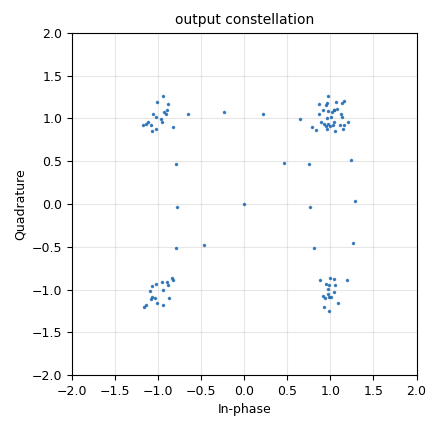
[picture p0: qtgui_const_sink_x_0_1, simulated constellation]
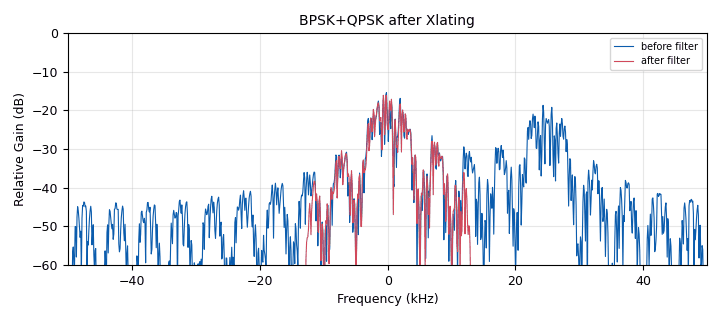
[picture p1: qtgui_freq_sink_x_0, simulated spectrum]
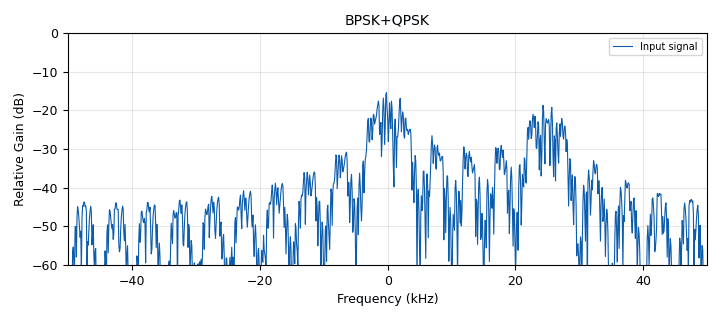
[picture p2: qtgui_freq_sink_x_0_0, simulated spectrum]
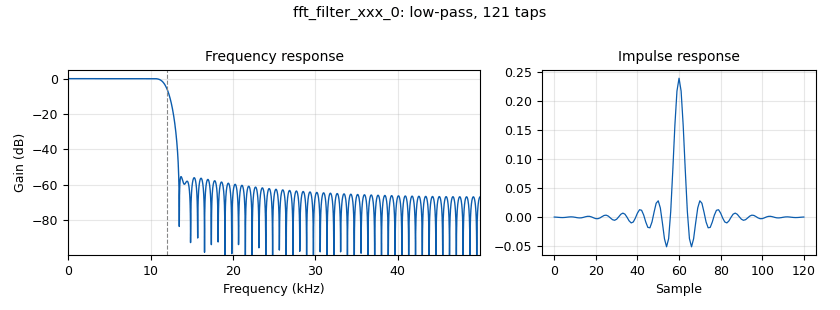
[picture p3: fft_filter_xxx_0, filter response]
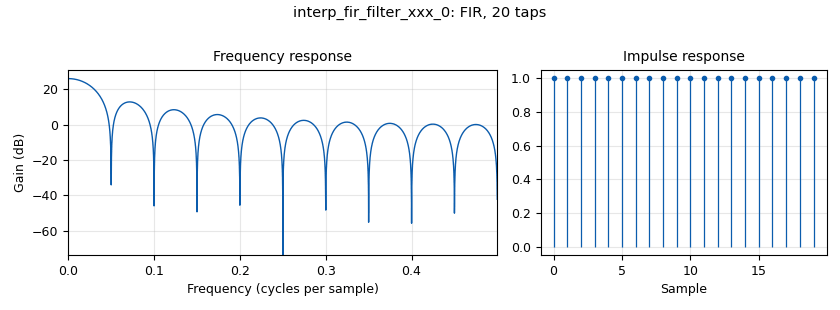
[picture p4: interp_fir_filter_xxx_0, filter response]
options:
  parameters:
    category: Custom
    description: IQ_tutorial_QPSK
    generate_options: qt_gui
    id: IQ_tutorial_QPSK
    output_language: python
    title: QPSK
  states: {}

blocks:
- name: bit_rate
  id: variable
  parameters:
    value: '5000'
  states: {}
- name: delta_f
  id: variable_qtgui_range
  parameters:
    gui_hint: 0,1,1,1
    label: Delta_f (Xlating)
    orient: Qt.Horizontal
    start: '-samp_rate/4'
    step: '0.01'
    stop: samp_rate/4
    value: '0'
  states: {}
- name: delta_f_over_fs
  id: variable_qtgui_range
  parameters:
    comment: large delta_f
    gui_hint: 0,0,1,1
    label: delta_f/fs (channel)
    orient: Qt.Horizontal
    start: '-0.25'
    step: 1/100
    stop: '0.25'
    value: '0'
  states: {}
- name: noise
  id: variable
  parameters:
    value: '0'
  states: {}
- name: samp_rate
  id: variable
  parameters:
    value: bit_rate*sample_per_bit
  states: {}
- name: sample_per_bit
  id: variable
  parameters:
    value: '20'
  states: {}
- name: analog_const_source_x_0
  id: analog_const_source_x
  parameters:
    const: '0'
    type: float
  states: {}
- name: analog_random_source_x_0
  id: analog_random_source_x
  parameters:
    max: '2'
    min: '0'
    num_samps: '1000'
    repeat: 'True'
    type: byte
  states: {}
- name: analog_random_source_x_0_0
  id: analog_random_source_x
  parameters:
    max: '2'
    min: '0'
    num_samps: '1000'
    repeat: 'True'
    type: byte
  states: {}
- name: analog_sig_source_x_0
  id: analog_sig_source_x
  parameters:
    amp: '1'
    freq: samp_rate/4
    offset: '0'
    phase: '0'
    samp_rate: samp_rate
    type: complex
    waveform: analog.GR_COS_WAVE
  states: {}
- name: blocks_add_const_vxx_0_0
  id: blocks_add_const_vxx
  parameters:
    const: '-1-1j'
    type: complex
  states: {}
- name: blocks_add_const_vxx_0_0_0
  id: blocks_add_const_vxx
  parameters:
    const: '-1'
    type: complex
  states: {}
- name: blocks_add_xx_0
  id: blocks_add_xx
  parameters:
    type: complex
  states: {}
- name: blocks_char_to_float_0
  id: blocks_char_to_float
  parameters:
    scale: '0.5'
  states: {}
- name: blocks_char_to_float_0_0
  id: blocks_char_to_float
  parameters:
    scale: '0.5'
  states: {}
- name: blocks_float_to_complex_1
  id: blocks_float_to_complex
  parameters: {}
  states: {}
- name: blocks_float_to_complex_1_0
  id: blocks_float_to_complex
  parameters: {}
  states: {}
- name: blocks_multiply_xx_0
  id: blocks_multiply_xx
  parameters:
    type: complex
  states: {}
- name: blocks_throttle_1
  id: blocks_throttle
  parameters:
    samples_per_second: samp_rate
    type: complex
  states: {}
- name: blocks_throttle_1_0
  id: blocks_throttle
  parameters:
    samples_per_second: samp_rate
    type: complex
  states: {}
- name: channels_channel_model_0
  id: channels_channel_model
  parameters:
    epsilon: '1.0'
    freq_offset: delta_f_over_fs
    noise_voltage: noise
    seed: '0'
    taps: '1'
  states: {}
- name: fft_filter_xxx_0
  id: fft_filter_xxx
  parameters:
    decim: '1'
    taps: firdes.low_pass(1,samp_rate,12000, 2000)
    type: ccc
  states: {}
- name: freq_xlating_fft_filter_ccc_0
  id: freq_xlating_fft_filter_ccc
  parameters:
    center_freq: delta_f
    decim: '1'
    samp_rate: samp_rate
    taps: '1'
  states: {}
- name: interp_fir_filter_xxx_0
  id: interp_fir_filter_xxx
  parameters:
    comment: interpolate without filtering
    interp: sample_per_bit
    taps: numpy.ones(sample_per_bit)
    type: ccc
  states: {}
- name: interp_fir_filter_xxx_0_0
  id: interp_fir_filter_xxx
  parameters:
    comment: interpolate without filtering
    interp: sample_per_bit
    taps: numpy.ones(sample_per_bit)
    type: ccc
  states: {}
- name: qtgui_const_sink_x_0_1
  id: qtgui_const_sink_x
  parameters:
    gui_hint: 1,0,1,1
    name: output constellation
    size: '100'
    style1: '1'
    type: complex
  states: {}
- name: qtgui_freq_sink_x_0
  id: qtgui_freq_sink_x
  parameters:
    bw: samp_rate
    fc: '0'
    fftsize: '1024'
    gui_hint: 1,2,1,1
    label1: before filter
    label2: after filter
    name: 'BPSK+QPSK after Xlating '
    nconnections: '2'
    type: complex
    wintype: firdes.WIN_BLACKMAN_hARRIS
    ymax: '0'
    ymin: '-60'
  states: {}
- name: qtgui_freq_sink_x_0_0
  id: qtgui_freq_sink_x
  parameters:
    bw: samp_rate
    fc: '0'
    fftsize: '1024'
    gui_hint: 1,1,1,1
    label1: Input signal
    name: BPSK+QPSK
    type: complex
    wintype: firdes.WIN_BLACKMAN_hARRIS
    ymax: '0'
    ymin: '-60'
  states: {}
- name: virtual_sink_0
  id: virtual_sink
  parameters:
    stream_id: emitter
  states: {}
- name: virtual_source_0
  id: virtual_source
  parameters:
    comment: |-
      QPSK at F0
      BPSK at F0+25 kHz
    stream_id: emitter
  states: {}

connections:
- [analog_const_source_x_0, '0', blocks_float_to_complex_1_0, '1']
- [analog_random_source_x_0, '0', blocks_char_to_float_0, '0']
- [analog_random_source_x_0_0, '0', blocks_char_to_float_0_0, '0']
- [analog_sig_source_x_0, '0', blocks_multiply_xx_0, '1']
- [blocks_add_const_vxx_0_0, '0', interp_fir_filter_xxx_0, '0']
- [blocks_add_const_vxx_0_0_0, '0', interp_fir_filter_xxx_0_0, '0']
- [blocks_add_xx_0, '0', virtual_sink_0, '0']
- [blocks_char_to_float_0, '0', blocks_float_to_complex_1, '0']
- [blocks_char_to_float_0_0, '0', blocks_float_to_complex_1, '1']
- [blocks_char_to_float_0_0, '0', blocks_float_to_complex_1_0, '0']
- [blocks_float_to_complex_1, '0', blocks_add_const_vxx_0_0, '0']
- [blocks_float_to_complex_1_0, '0', blocks_add_const_vxx_0_0_0, '0']
- [blocks_multiply_xx_0, '0', blocks_add_xx_0, '1']
- [blocks_throttle_1, '0', blocks_add_xx_0, '0']
- [blocks_throttle_1_0, '0', blocks_multiply_xx_0, '0']
- [channels_channel_model_0, '0', freq_xlating_fft_filter_ccc_0, '0']
- [channels_channel_model_0, '0', qtgui_freq_sink_x_0_0, '0']
- [fft_filter_xxx_0, '0', qtgui_const_sink_x_0_1, '0']
- [fft_filter_xxx_0, '0', qtgui_freq_sink_x_0, '1']
- [freq_xlating_fft_filter_ccc_0, '0', fft_filter_xxx_0, '0']
- [freq_xlating_fft_filter_ccc_0, '0', qtgui_freq_sink_x_0, '0']
- [interp_fir_filter_xxx_0, '0', blocks_throttle_1, '0']
- [interp_fir_filter_xxx_0_0, '0', blocks_throttle_1_0, '0']
- [virtual_source_0, '0', channels_channel_model_0, '0']

metadata:
  file_format: 1
